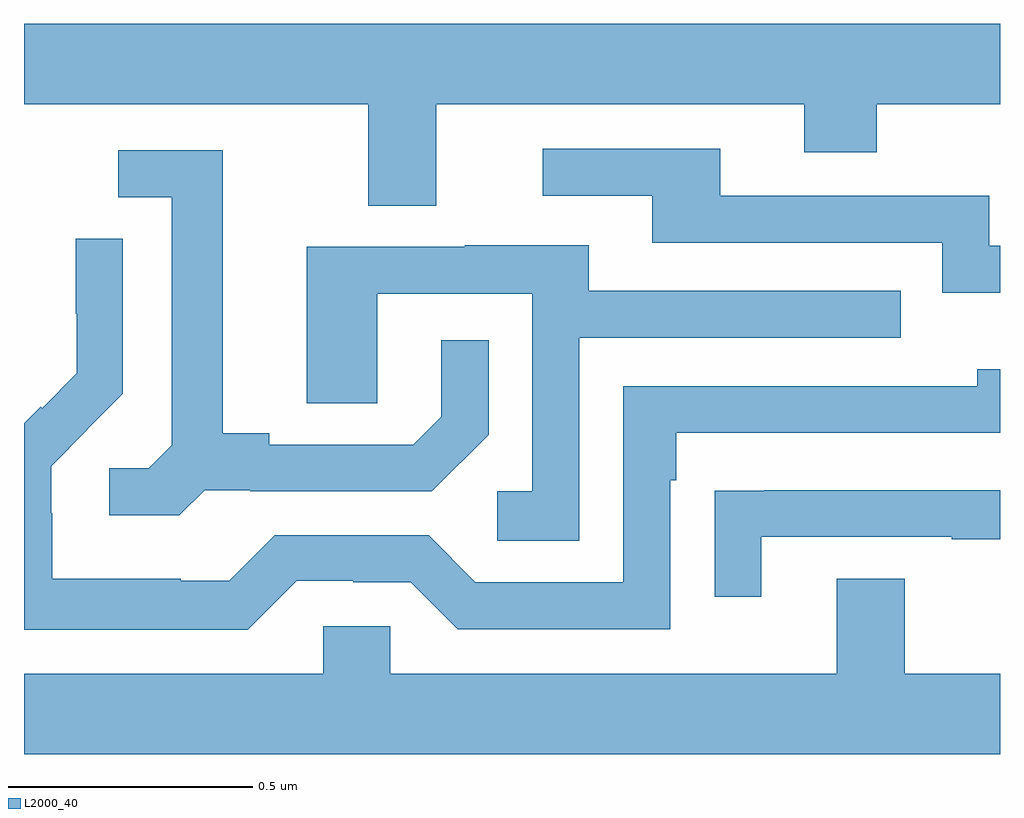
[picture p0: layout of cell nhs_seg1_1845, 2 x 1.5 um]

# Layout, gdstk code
import gdstk
lib = gdstk.Library(unit=1e-6, precision=1e-09)
def P(c, l, *ps):  # polygons
    for p in ps: c.add(gdstk.Polygon(p, *l))
L2000_40 = (2000, 40)

nhs_seg1_1845 = lib.new_cell('nhs_seg1_1845')
P(nhs_seg1_1845, L2000_40, [(134.845,531.752),(135.599,531.752),(135.599,531.653),(135.747,531.653),(135.747,531.752),(136,531.752),(136,531.916),(134,531.916),(134,531.752),(134.705,531.752),(134.705,531.544),(134.845,531.544)],
  [(136,531.462),(135.978,531.462),(135.978,531.564),(135.427,531.564),(135.427,531.66),(135.063,531.66),(135.063,531.564),(135.287,531.564),(135.287,531.468),(135.882,531.468),(135.882,531.365),(136,531.365)],
  [(134.37,530.961),(134.464,530.961),(134.464,530.958),(134.836,530.958),(134.952,531.074),(134.952,531.268),(134.855,531.268),(134.855,531.111),(134.798,531.054),(134.503,531.054),(134.503,531.077),(134.407,531.077),(134.407,531.657),(134.193,531.657),(134.193,531.561),(134.303,531.561),(134.303,531.053),(134.256,531.006),(134.175,531.006),(134.175,530.909),(134.318,530.909)],
  [(134.559,530.775),(134.675,530.775),(134.675,530.772),(134.793,530.772),(134.889,530.676),(135.324,530.676),(135.324,530.981),(135.337,530.981),(135.337,531.078),(136,531.078),(136,531.208),(135.953,531.208),(135.953,531.174),(135.228,531.174),(135.228,530.772),(134.925,530.772),(134.829,530.868),(134.514,530.868),(134.421,530.775),(134.321,530.775),(134.321,530.779),(134.058,530.779),(134.058,530.913),(134.056,530.913),(134.056,531.01),(134.13,531.084),(134.129,531.085),(134.202,531.158),(134.202,531.476),(134.106,531.476),(134.106,531.322),(134.108,531.322),(134.108,531.2),(134.037,531.129),(134.034,531.132),(134,531.098),(134,530.675),(134.459,530.675)],
  [(135.138,531.273),(135.797,531.273),(135.797,531.369),(135.157,531.369),(135.157,531.463),(134.903,531.463),(134.903,531.459),(134.579,531.459),(134.579,531.139),(134.724,531.139),(134.724,531.363),(135.042,531.363),(135.042,530.958),(134.97,530.958),(134.97,530.857),(135.138,530.857)],
  [(135.511,530.865),(135.901,530.865),(135.901,530.86),(136,530.86),(136,530.961),(135.517,530.961),(135.517,530.96),(135.415,530.96),(135.415,530.742),(135.511,530.742)],
  [(136,530.584),(135.805,530.584),(135.805,530.779),(135.665,530.779),(135.665,530.584),(134.751,530.584),(134.751,530.682),(134.613,530.682),(134.613,530.584),(134,530.584),(134,530.42),(136,530.42)])

lib.write_gds('nhs_seg1_1845.gds')
